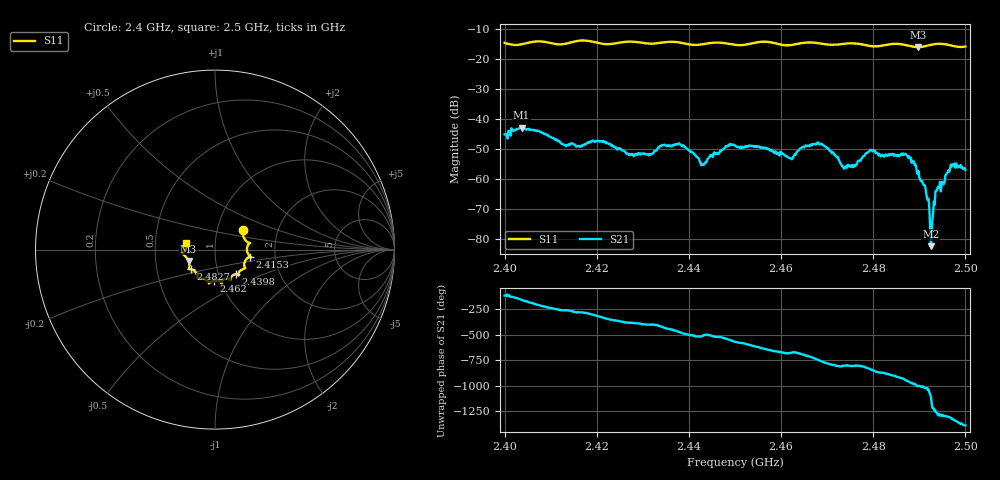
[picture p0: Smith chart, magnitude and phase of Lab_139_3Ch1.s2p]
# Hz S RI R 50
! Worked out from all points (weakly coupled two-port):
!   601 points, 2.4 GHz to 2.5 GHz, reference 50 ohm
!   highest |S21| = -42.87 dB at 2.4037 GHz (marker M1); lowest = -82.4 dB at 2.4925 GHz (marker M2)
!   lowest |S11| = -15.9 dB at 2.4897 GHz (marker M3), VSWR 1.38, Z = 36.9 - j4.84 ohm
!   |S11| at or under -10 dB: start of sweep to end of sweep
!   S12 and S22 are empty: the file has one direction only
!   S11 on the Smith chart (normalised r, x): 2.4 GHz: 1.33, +0.29; 2.4153 GHz: 1.48, -0.12; 2.4398 GHz: 1.21, -0.34; 2.462 GHz: 0.93, -0.33; 2.4827 GHz: 0.75, -0.17; 2.5 GHz: 0.72, +0.06
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2.4e9  0.1558 0.1067  -0.00262 -0.00492  0 0  0 0
2.403667e9  0.1712 0.0506  -0.0067 -0.0026  0 0  0 0
2.415333e9  0.196 -0.0387  0.000662 0.00364  0 0  0 0
2.416667e9  0.202 -0.0426  0.000745 0.00354  0 0  0 0
2.433333e9  0.1309 -0.1336  0.00215 -0.0026  0 0  0 0
2.439833e9  0.1158 -0.1364  -0.00236 -0.00198  0 0  0 0
2.443167e9  0.0881 -0.1566  -0.00141 -0.000976  0 0  0 0
2.45e9  0.0649 -0.1625  -0.00314 0.00189  0 0  0 0
2.462e9  -0.00475 -0.1727  0.00169 0.00143  0 0  0 0
2.466667e9  -0.0341 -0.1882  0.00384 -9.38e-05  0 0  0 0
2.469333e9  -0.0419 -0.175  0.00224 -0.00285  0 0  0 0
2.473833e9  -0.0872 -0.1606  0.000216 -0.00154  0 0  0 0
2.4795e9  -0.106 -0.1284  -0.00167 -0.00257  0 0  0 0
2.482667e9  -0.135 -0.1093  -0.00241 -0.000905  0 0  0 0
2.483333e9  -0.1402 -0.1089  -0.00254 -0.000525  0 0  0 0
2.487e9  -0.1434 -0.0975  -0.00187 0.00182  0 0  0 0
2.489667e9  -0.1469 -0.0638  0.000314 0.00118  0 0  0 0
2.4915e9  -0.1628 -0.0395  0.000312 0.000486  0 0  0 0
2.4925e9  -0.1723 -0.0304  6.64e-05 -3.6e-05  0 0  0 0
2.494e9  -0.1805 -0.0228  -0.000679 0.000268  0 0  0 0
2.496667e9  -0.1722 -0.0108  -0.000968 0.00111  0 0  0 0
2.5e9  -0.1594 0.0386  0.000894 0.00111  0 0  0 0
